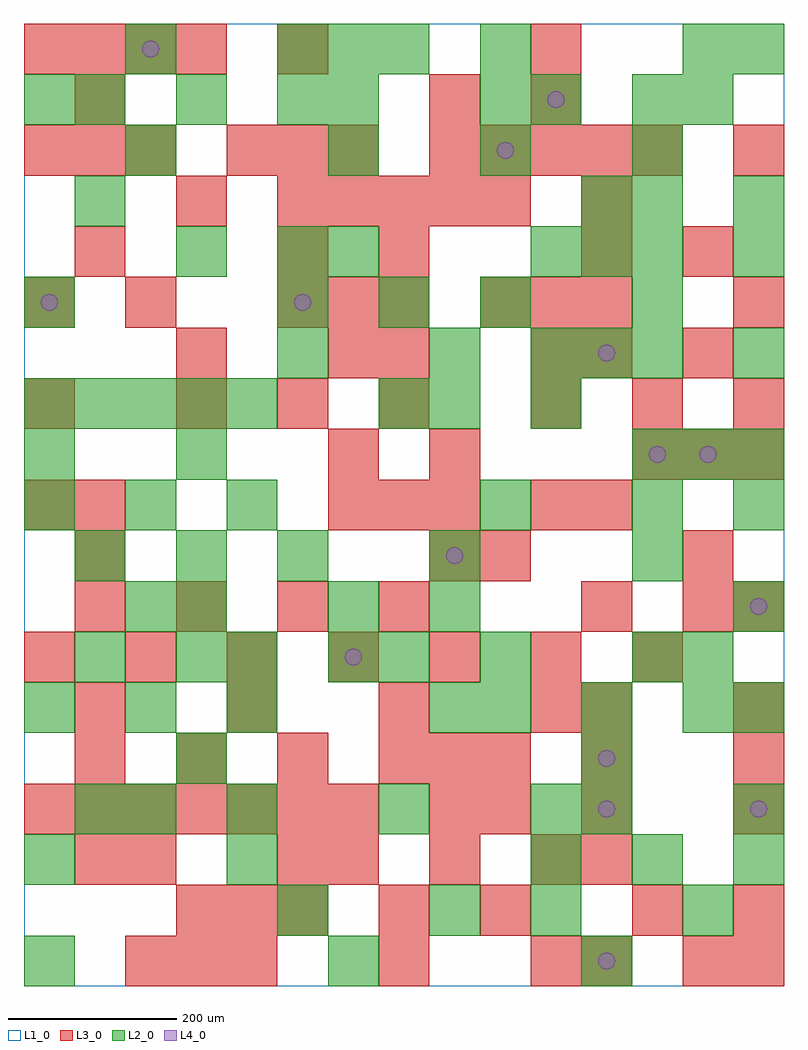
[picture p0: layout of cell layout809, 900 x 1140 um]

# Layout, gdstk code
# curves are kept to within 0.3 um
import gdstk
lib = gdstk.Library(unit=1e-6, precision=1e-09)
def R(c, l, rs):  # rectangles x0, y0, x1, y1
    for r in rs: c.add(gdstk.rectangle(r[:2], r[2:], *l))
def A(c, l, x, y, w, h, nx, ny, dx, dy):  # array of equal rectangles
    R(c, l, [(x+i*dx, y+j*dy, x+i*dx+w, y+j*dy+h) for i in range(nx) for j in range(ny)])
def P(c, l, *ps):  # polygons
    for p in ps: c.add(gdstk.Polygon(p, *l))
L1_0 = (1, 0)
L2_0 = (2, 0)
L3_0 = (3, 0)
L4_0 = (4, 0)

layout809 = lib.new_cell('layout809')
R(layout809, L1_0, [(0,0,900,1140)])
A(layout809, L2_0, 600, 120, 60, 60, 3, 1, 120, 0)
A(layout809, L2_0, 240, 180, 60, 60, 3, 1, 180, 0)
A(layout809, L2_0, 840, 180, 60, 60, 1, 4, 0, 120)
A(layout809, L2_0, 0, 300, 60, 60, 3, 2, 120, 240)
A(layout809, L2_0, 540, 300, 60, 60, 3, 1, 120, 0)
A(layout809, L2_0, 60, 480, 60, 60, 3, 2, 120, 540)
A(layout809, L2_0, 720, 600, 60, 60, 3, 1, 60, 0)
A(layout809, L2_0, 0, 660, 60, 60, 5, 1, 60, 0)
A(layout809, L2_0, 600, 720, 60, 60, 3, 2, 60, 120)
A(layout809, L2_0, 300, 780, 60, 60, 3, 1, 120, 0)
A(layout809, L2_0, 720, 780, 60, 60, 1, 3, 0, 120)
A(layout809, L2_0, 360, 960, 60, 60, 3, 1, 180, 0)
A(layout809, L2_0, 300, 1080, 60, 60, 3, 1, 60, 0)
R(layout809, L2_0, [(0,0,60,60), (360,0,420,60), (660,0,720,60), (300,60,360,120), (480,60,540,120), (600,60,660,120), (780,60,840,120), (0,120,60,180), (240,120,300,180), (60,180,120,240), (120,180,180,240), (660,180,720,240), (180,240,240,300), (660,240,720,300), (480,300,540,360), (60,360,120,420), (180,360,240,420), (240,360,300,420), (360,360,420,420), (420,360,480,420), (540,360,600,420), (720,360,780,420), (780,360,840,420), (120,420,180,480), (180,420,240,480), (360,420,420,480), (480,420,540,480), (480,480,540,540), (720,480,780,540), (540,540,600,600), (720,540,780,600), (0,600,60,660), (180,600,240,660), (420,660,480,720), (480,660,540,720), (600,660,660,720), (300,720,360,780), (480,720,540,780), (840,720,900,780), (0,780,60,840), (180,840,240,900), (300,840,360,900), (360,840,420,900), (840,840,900,900), (60,900,120,960), (660,900,720,960), (840,900,900,960), (120,960,180,1020), (0,1020,60,1080), (360,1020,420,1080), (540,1020,600,1080), (600,1020,660,1080), (780,1020,840,1080), (120,1080,180,1140), (540,1080,600,1140), (780,1080,840,1140), (840,1080,900,1140)])
A(layout809, L3_0, 120, 0, 60, 60, 3, 1, 60, 0)
A(layout809, L3_0, 180, 60, 60, 60, 3, 1, 60, 0)
A(layout809, L3_0, 360, 120, 60, 60, 3, 1, 120, 0)
A(layout809, L3_0, 660, 120, 60, 60, 1, 4, 0, 60)
A(layout809, L3_0, 0, 180, 60, 60, 7, 1, 60, 0)
A(layout809, L3_0, 840, 180, 60, 60, 1, 3, 0, 60)
A(layout809, L3_0, 60, 240, 60, 60, 4, 2, 120, 180)
A(layout809, L3_0, 60, 300, 60, 60, 4, 1, 180, 0)
A(layout809, L3_0, 0, 360, 60, 60, 7, 1, 120, 0)
A(layout809, L3_0, 0, 540, 60, 60, 1, 3, 0, 120)
A(layout809, L3_0, 360, 540, 60, 60, 3, 1, 60, 0)
A(layout809, L3_0, 720, 600, 60, 60, 3, 1, 60, 0)
A(layout809, L3_0, 180, 660, 60, 60, 3, 1, 120, 0)
A(layout809, L3_0, 600, 660, 60, 60, 3, 1, 120, 0)
A(layout809, L3_0, 300, 780, 60, 60, 3, 1, 60, 0)
A(layout809, L3_0, 540, 780, 60, 60, 3, 1, 60, 0)
A(layout809, L3_0, 300, 900, 60, 60, 5, 1, 60, 0)
A(layout809, L3_0, 0, 960, 60, 60, 3, 1, 60, 0)
A(layout809, L3_0, 240, 960, 60, 60, 3, 1, 60, 0)
A(layout809, L3_0, 480, 960, 60, 60, 5, 1, 60, 0)
A(layout809, L3_0, 0, 1080, 60, 60, 4, 1, 60, 0)
R(layout809, L3_0, [(420,0,480,60), (600,0,660,60), (660,0,720,60), (780,0,840,60), (840,0,900,60), (420,60,480,120), (540,60,600,120), (720,60,780,120), (840,60,900,120), (60,120,120,180), (120,120,180,180), (300,120,360,180), (480,180,540,240), (540,180,600,240), (480,240,540,300), (540,240,600,300), (660,420,720,480), (780,420,840,480), (840,420,900,480), (60,480,120,540), (480,480,540,540), (540,480,600,540), (780,480,840,540), (60,540,120,600), (600,540,660,600), (660,540,720,600), (360,600,420,660), (480,600,540,660), (180,720,240,780), (360,720,420,780), (420,720,480,780), (600,720,660,780), (660,720,720,780), (780,720,840,780), (120,780,180,840), (840,780,900,840), (60,840,120,900), (300,840,360,900), (420,840,480,900), (660,840,720,900), (780,840,840,900), (180,900,240,960), (660,900,720,960), (840,960,900,1020), (60,1020,120,1080), (480,1020,540,1080), (600,1020,660,1080), (300,1080,360,1140), (600,1080,660,1140)])
P(layout809, L4_0, [(40,810),(39.239,813.827),(37.071,817.071),(33.827,819.239),(30,820),(26.173,819.239),(22.929,817.071),(20.761,813.827),(20,810),(20.761,806.173),(22.929,802.929),(26.173,800.761),(30,800),(33.827,800.761),(37.071,802.929),(39.239,806.173)],
  [(160,1110),(159.239,1113.827),(157.071,1117.071),(153.827,1119.239),(150,1120),(146.173,1119.239),(142.929,1117.071),(140.761,1113.827),(140,1110),(140.761,1106.173),(142.929,1102.929),(146.173,1100.761),(150,1100),(153.827,1100.761),(157.071,1102.929),(159.239,1106.173)],
  [(340,810),(339.239,813.827),(337.071,817.071),(333.827,819.239),(330,820),(326.173,819.239),(322.929,817.071),(320.761,813.827),(320,810),(320.761,806.173),(322.929,802.929),(326.173,800.761),(330,800),(333.827,800.761),(337.071,802.929),(339.239,806.173)],
  [(400,390),(399.239,393.827),(397.071,397.071),(393.827,399.239),(390,400),(386.173,399.239),(382.929,397.071),(380.761,393.827),(380,390),(380.761,386.173),(382.929,382.929),(386.173,380.761),(390,380),(393.827,380.761),(397.071,382.929),(399.239,386.173)],
  [(520,510),(519.239,513.827),(517.071,517.071),(513.827,519.239),(510,520),(506.173,519.239),(502.929,517.071),(500.761,513.827),(500,510),(500.761,506.173),(502.929,502.929),(506.173,500.761),(510,500),(513.827,500.761),(517.071,502.929),(519.239,506.173)],
  [(580,990),(579.239,993.827),(577.071,997.071),(573.827,999.239),(570,1000),(566.173,999.239),(562.929,997.071),(560.761,993.827),(560,990),(560.761,986.173),(562.929,982.929),(566.173,980.761),(570,980),(573.827,980.761),(577.071,982.929),(579.239,986.173)],
  [(640,1050),(639.239,1053.827),(637.071,1057.071),(633.827,1059.239),(630,1060),(626.173,1059.239),(622.929,1057.071),(620.761,1053.827),(620,1050),(620.761,1046.173),(622.929,1042.929),(626.173,1040.761),(630,1040),(633.827,1040.761),(637.071,1042.929),(639.239,1046.173)],
  [(700,30),(699.239,33.827),(697.071,37.071),(693.827,39.239),(690,40),(686.173,39.239),(682.929,37.071),(680.761,33.827),(680,30),(680.761,26.173),(682.929,22.929),(686.173,20.761),(690,20),(693.827,20.761),(697.071,22.929),(699.239,26.173)],
  [(700,210),(699.239,213.827),(697.071,217.071),(693.827,219.239),(690,220),(686.173,219.239),(682.929,217.071),(680.761,213.827),(680,210),(680.761,206.173),(682.929,202.929),(686.173,200.761),(690,200),(693.827,200.761),(697.071,202.929),(699.239,206.173)],
  [(700,270),(699.239,273.827),(697.071,277.071),(693.827,279.239),(690,280),(686.173,279.239),(682.929,277.071),(680.761,273.827),(680,270),(680.761,266.173),(682.929,262.929),(686.173,260.761),(690,260),(693.827,260.761),(697.071,262.929),(699.239,266.173)],
  [(700,750),(699.239,753.827),(697.071,757.071),(693.827,759.239),(690,760),(686.173,759.239),(682.929,757.071),(680.761,753.827),(680,750),(680.761,746.173),(682.929,742.929),(686.173,740.761),(690,740),(693.827,740.761),(697.071,742.929),(699.239,746.173)],
  [(760,630),(759.239,633.827),(757.071,637.071),(753.827,639.239),(750,640),(746.173,639.239),(742.929,637.071),(740.761,633.827),(740,630),(740.761,626.173),(742.929,622.929),(746.173,620.761),(750,620),(753.827,620.761),(757.071,622.929),(759.239,626.173)],
  [(820,630),(819.239,633.827),(817.071,637.071),(813.827,639.239),(810,640),(806.173,639.239),(802.929,637.071),(800.761,633.827),(800,630),(800.761,626.173),(802.929,622.929),(806.173,620.761),(810,620),(813.827,620.761),(817.071,622.929),(819.239,626.173)],
  [(880,210),(879.239,213.827),(877.071,217.071),(873.827,219.239),(870,220),(866.173,219.239),(862.929,217.071),(860.761,213.827),(860,210),(860.761,206.173),(862.929,202.929),(866.173,200.761),(870,200),(873.827,200.761),(877.071,202.929),(879.239,206.173)],
  [(880,450),(879.239,453.827),(877.071,457.071),(873.827,459.239),(870,460),(866.173,459.239),(862.929,457.071),(860.761,453.827),(860,450),(860.761,446.173),(862.929,442.929),(866.173,440.761),(870,440),(873.827,440.761),(877.071,442.929),(879.239,446.173)])

lib.write_gds('layout809.gds')
